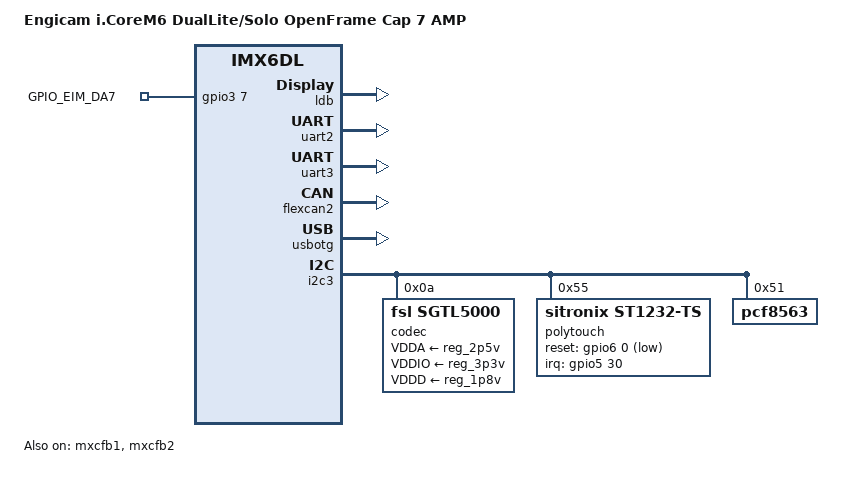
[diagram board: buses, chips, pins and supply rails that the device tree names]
/*
 * Copyright (C) 2013 Freescale Semiconductor, Inc.
 *
 * This program is free software; you can redistribute it and/or modify
 * it under the terms of the GNU General Public License version 2 as
 * published by the Free Software Foundation.
 */

/dts-v1/;

#include "imx6dl.dtsi"
#include "icorem6qdl.dtsi"

/ {
	model = "Engicam i.CoreM6 DualLite/Solo OpenFrame Cap 7 AMP";
	compatible = "fsl,imx6-icore", "fsl,imx6dl";

	sound {
		compatible = "fsl,imx6-icore-sgtl5000",
			     "fsl,imx-audio-sgtl5000";
		model = "imx6q-icore-sgtl5000";
		cpu-dai = <&ssi1>;
		audio-codec = <&codec>;
		audio-routing =
			"MIC_IN", "Mic Jack",
			"Mic Jack", "Mic Bias",
			"Headphone Jack", "HP_OUT";
		mux-int-port = <1>;
		mux-ext-port = <4>;
	};
	
	gpio_export {
		compatible = "gpio-export";
		GPIO_EIM_DA7 {
			gpio-export,name = "GPIO_EIM_DA7";
			gpio-export,input = <1>;
			gpios = <&gpio3 7 0>;
		};		
	};
	
};

&ldb {
	status = "okay";

	lvds-channel@0 {
		fsl,data-mapping = "spwg";
		fsl,data-width = <18>;
		status = "okay";
		crtc = "ipu1-di0";
		primary;

		display-timings {
                        native-mode = <&timing1>;
                        timing1: hsd100pxn1 {
                                clock-frequency = <33000000>;
                                hactive = <800>;
                                vactive = <480>;
                                hback-porch = <30>;
                                hfront-porch = <30>;
                                vback-porch = <5>;
                                vfront-porch = <5>;
                                hsync-len = <64>;
                                vsync-len = <20>;
                        };
                };
	};
};


&mxcfb1 {
	status = "okay";
};

&mxcfb2 {
	status = "okay";
};

&uart2 {
	status = "okay";
};

&uart3 {
	fsl,uart-has-rtscts;
	status = "okay";
};

&flexcan2 {
	status = "okay";
};

&usbotg {
	status = "okay";
};


&i2c3 {

	codec: sgtl5000@0a {
		compatible = "fsl,sgtl5000";
		reg = <0x0a>;
		clocks = <&clks 201>;
		VDDA-supply = <&reg_2p5v>;
		VDDIO-supply = <&reg_3p3v>;
		VDDD-supply = <&reg_1p8v>;
	};

	polytouch: st1232_ts@55 {
		compatible = "sitronix,st1232-ts";
		reg = <0x55>;
		pinctrl-names = "default";		
		pinctrl-0 = <&pinctrl_st1232_ts>;
		interrupt-parent = <&gpio5>;
		interrupts = <30 0>;	
		reset-gpios = <&gpio6 0 1>;
		// Different setting for Ampire/URT
		// invert_y = <0>; for Ampire  LCD 
		// invert_y = <1>; for URT  LCD 
		invert_y = <0>;
	};
	
	pcf8563: rtc@51 {
		compatible = "pcf8563";
		reg = <0x51>;
	};
};

&iomuxc {
	touchpanel{
		pinctrl_st1232_ts:  st1232-tsgrp  {
			fsl,pins = <
				MX6QDL_PAD_CSI0_DAT12__GPIO5_IO30 0x1b0b0 /*interrupt*/ 
				MX6QDL_PAD_CSI0_DAT14__GPIO6_IO00 0x1b0b0 /*reset amp*/
			>;
		};
	};
};

&iomuxc {
	pinctrl-names = "default";
	pinctrl-0 = <&pinctrl_hog>;	
	hog {
		pinctrl_hog: hoggrp {
			fsl,pins = <
				MX6QDL_PAD_EIM_DA7__GPIO3_IO07 0x1f059 /* EIM_DA07 forced to GPIO in */
			>;
		};
	};
};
